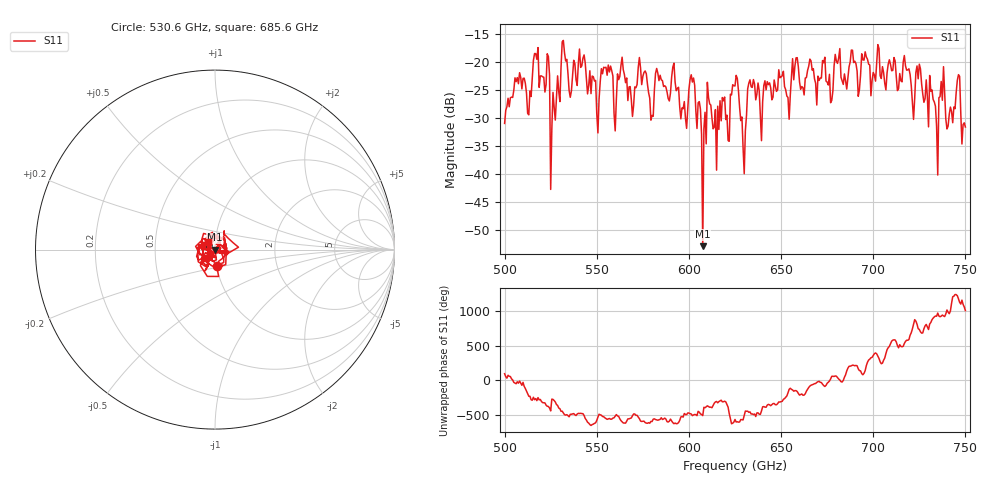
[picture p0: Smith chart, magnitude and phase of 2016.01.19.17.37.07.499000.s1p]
!Created with skrf (http://scikit-rf.org).
# GHz S RI R 50.0
!freq ReS11 ImS11
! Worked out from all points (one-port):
!   401 points, 500 GHz to 750 GHz, reference 50 ohm
!   lowest |S11| = -52.8 dB at 607.5 GHz (marker M1), VSWR 1.00, Z = 49.8 - j0.129 ohm
!   |S11| at or under -10 dB: start of sweep to end of sweep
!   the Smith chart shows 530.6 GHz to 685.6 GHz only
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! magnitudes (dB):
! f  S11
! 500 GHz  -31.0
! 506.9 GHz  -22.8
! 513.1 GHz  -29.4
! 516.9 GHz  -18.5
! 523.1 GHz  -18.5
! 526.2 GHz  -25.4
! 531.2 GHz  -16.4
! 550 GHz  -29.2
! 562.5 GHz  -22.6
! 568.8 GHz  -26.7
! 576.2 GHz  -21.6
! 579.4 GHz  -30.4
! 583.1 GHz  -22.0
! 593.8 GHz  -24.7
! 598.1 GHz  -30.0
! 601.9 GHz  -23.6
! 607.5 GHz  -52.8
! 611.2 GHz  -27.5
! 621.2 GHz  -34.0
! 625 GHz  -24.3
! 629.4 GHz  -35.2
! 633.8 GHz  -24.4
! 656.2 GHz  -19.4
! 687.5 GHz  -20.0
! 718.8 GHz  -21.4
! 733.8 GHz  -27.9
! 746.2 GHz  -22.3
! 750 GHz  -31.6
